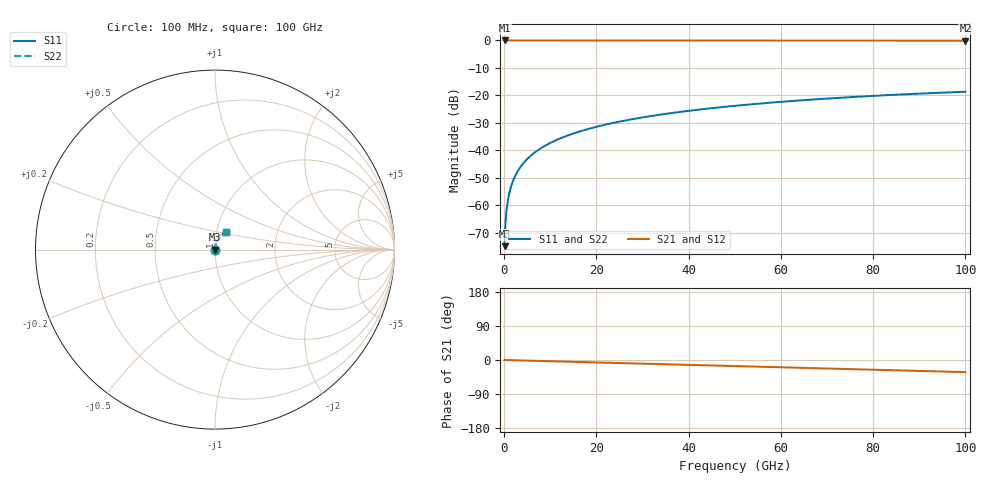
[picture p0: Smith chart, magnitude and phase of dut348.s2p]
! Touchstone file exported from HFSS 2026.1.0
!  File:  C:/ffzhzh/LocalFiles/Ansys_Project_Files/temp_train_TSV_348_1783509979_9504.aedt
!  Generated:  07:27:33 PM Jul  8, 2026
!  Design:  TSV
!  Project:  temp_train_TSV_348_1783509979_9504
! Variables:
!  h_bsmrdl = 2um
!  h_ox = 20um
!  h_rdl = 5um
!  h_sub = 55.08um
!  h_tmrdl = 5um
!  h_tsv = 55.08um
!  h_via = 3um
!  l_bsmrdl = 300um
!  l_sub = 422.82um
!  l_tmrdl = 200um
!  m_sub = 200um
!  pitch = 59.48um
!  r_tsv = 11.41um
!  s_tmrdl = 10um
!  w_bsmrdl = 18um
!  w_sub = 500um
!  w_tmrdl = 12um
!  x_tsv_center1 = 206um
!  x_tsv_center2 = 524um
!  x_tsv_center3 = 736um
!  x_tsv_center4 = 1054um
!  x_tsv_center5 = 1266um
!  x_tsv_center6 = 1584um
# GHz S MA R 50.000000
! Terminal data exported
! Port[1] = TSV1_1_T1
! Port[2] = TSV1_1_T2
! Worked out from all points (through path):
!   1000 points, 100 MHz to 100 GHz, reference 50 ohm
!   highest |S21| = 0.00 dB at 100 MHz (marker M1); lowest = -0.1 dB at 100 GHz (marker M2)
!   group delay of S21, straight-line fit = 889 fs
!   lowest |S11| = -74.8 dB at 100 MHz (marker M3), VSWR 1.00, Z = 50 + j0.0164 ohm
!   |S11| at or under -10 dB: start of sweep to end of sweep
!   |S22| runs from -74.8 to -18.6 dB; largest |S21 - S12| = 2e-15
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0.1  0.0001818 64.4  0.9999 -0.0  0.9999 -0.0  0.0001818 64.4
! Gamma 0 0 0 0
! Port Impedance 50 0 50 0
0.3  0.0004925 78.1  0.9999 -0.1  0.9999 -0.1  0.0004925 78.1
0.7  0.001083 81.5  0.9998 -0.2  0.9998 -0.2  0.001083 81.5
0.8  0.001225 81.9  0.9998 -0.3  0.9998 -0.3  0.001225 81.9
1  0.001507 82.5  0.9998 -0.3  0.9998 -0.3  0.001507 82.5
1.3  0.001926 83.2  0.9998 -0.4  0.9998 -0.4  0.001926 83.2
1.7  0.002482 83.9  0.9998 -0.6  0.9998 -0.6  0.002482 83.9
2.3  0.003311 84.4  0.9997 -0.8  0.9997 -0.8  0.003311 84.4
3  0.004271 84.7  0.9997 -1.0  0.9997 -1.0  0.004271 84.7
3.8  0.00536 84.9  0.9996 -1.2  0.9996 -1.2  0.00536 84.9
4.8  0.006713 85.0  0.9996 -1.6  0.9996 -1.6  0.006713 85.0
6  0.008331 84.9  0.9995 -1.9  0.9995 -1.9  0.008331 84.9
8.8  0.01209 84.5  0.9994 -2.8  0.9994 -2.8  0.01209 84.5
12.4  0.01689 83.7  0.9992 -4.0  0.9992 -4.0  0.01689 83.7
16.8  0.0227 82.6  0.999 -5.4  0.999 -5.4  0.0227 82.6
24.2  0.03239 80.6  0.9985 -7.8  0.9985 -7.8  0.03239 80.6
33.4  0.04422 77.9  0.9979 -10.7  0.9979 -10.7  0.04422 77.9
41.2  0.05402 75.5  0.9973 -13.2  0.9973 -13.2  0.05402 75.5
50.1  0.06489 72.8  0.9965 -16.1  0.9965 -16.1  0.06489 72.8
66.7  0.08408 67.6  0.9949 -21.4  0.9949 -21.4  0.08409 67.6
83.4  0.1016 62.4  0.993 -26.7  0.993 -26.7  0.1016 62.4
100  0.1168 57.2  0.9911 -32.0  0.9911 -32.0  0.1168 57.2
